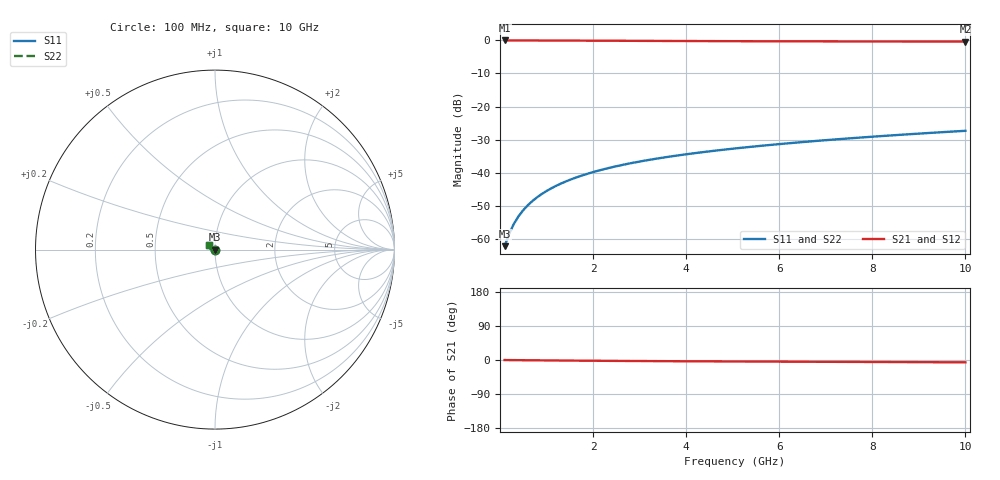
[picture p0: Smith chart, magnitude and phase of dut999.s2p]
! Touchstone file exported from HFSS 2024.1.0
!  File:  C:/UserFiles/LocalFiles/RDL_TSV_Batchsim/temp_TSV1_999_1779953494.aedt
!  Generated:  03:38:16 PM May 28, 2026
!  Design:  TSV1
!  Project:  temp_TSV1_999_1779953494
!  Setup:  Setup1
!  Solution:  Sweep
! Variables:
!  dtsv = 5.14um
!  hbump = 3um
!  htsv = 90.75um
!  lrdl = 252.1521522um
!  p = 40
!  p1 = 49.22um
!  t = 500um
!  trdl = 3um
!  wrdl = 24.89489489um
# GHz S MA R 50.000000
! Terminal data exported
! Port[1] = TSV22_T1
! Port[2] = TSV22_T2
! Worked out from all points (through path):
!   100 points, 100 MHz to 10 GHz, reference 50 ohm
!   highest |S21| = -0.01 dB at 100 MHz (marker M1); lowest = -0.3 dB at 10 GHz (marker M2)
!   lowest |S11| = -62.3 dB at 100 MHz (marker M3), VSWR 1.00, Z = 50.1 - j0.0542 ohm
!   |S11| at or under -10 dB: start of sweep to end of sweep
!   |S22| runs from -62.3 to -27.3 dB; largest |S21 - S12| = 5.5e-15
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0.1  0.0007707 -44.6  0.9994 -0.1  0.9994 -0.1  0.0007707 -44.6
! Gamma 0 0 0 0
! Port Impedance 50 0 50 0
0.2  0.001198 -66.0  0.9993 -0.2  0.9993 -0.2  0.001198 -66.0
0.3  0.001683 -77.1  0.9992 -0.3  0.9992 -0.3  0.001683 -77.1
0.4  0.002187 -84.3  0.999 -0.4  0.999 -0.4  0.002187 -84.3
0.5  0.002699 -89.7  0.9988 -0.5  0.9988 -0.5  0.002699 -89.7
0.6  0.003213 -94.1  0.9986 -0.7  0.9986 -0.7  0.003213 -94.1
0.7  0.003728 -97.9  0.9983 -0.8  0.9983 -0.8  0.003728 -97.9
0.8  0.004241 -101.4  0.998 -0.9  0.998 -0.9  0.004241 -101.4
0.9  0.004754 -104.6  0.9976 -1.0  0.9976 -1.0  0.004754 -104.6
1  0.005263 -107.6  0.9972 -1.1  0.9972 -1.1  0.005263 -107.6
1.2  0.006274 -113.2  0.9963 -1.3  0.9963 -1.3  0.006274 -113.2
1.5  0.007765 -121.0  0.9948 -1.5  0.9948 -1.5  0.007765 -121.0
1.8  0.009221 -128.2  0.993 -1.8  0.993 -1.8  0.009221 -128.2
2.1  0.01064 -134.9  0.9912 -2.1  0.9912 -2.1  0.01064 -134.9
2.5  0.01248 -143.2  0.9886 -2.4  0.9886 -2.4  0.01248 -143.2
2.9  0.01426 -150.8  0.986 -2.7  0.986 -2.7  0.01426 -150.8
3.4  0.01642 -159.5  0.9829 -3.0  0.9829 -3.0  0.01642 -159.5
4.2  0.01975 -171.7  0.9784 -3.4  0.9784 -3.4  0.01975 -171.7
5.1  0.0234 176.8  0.974 -3.9  0.974 -3.9  0.0234 176.8
6.7  0.02977 160.7  0.9681 -4.7  0.9681 -4.7  0.02977 160.7
8.4  0.03652 148.0  0.9638 -5.4  0.9638 -5.4  0.03652 148.0
10  0.04291 138.9  0.9608 -6.1  0.9608 -6.1  0.04291 138.9
